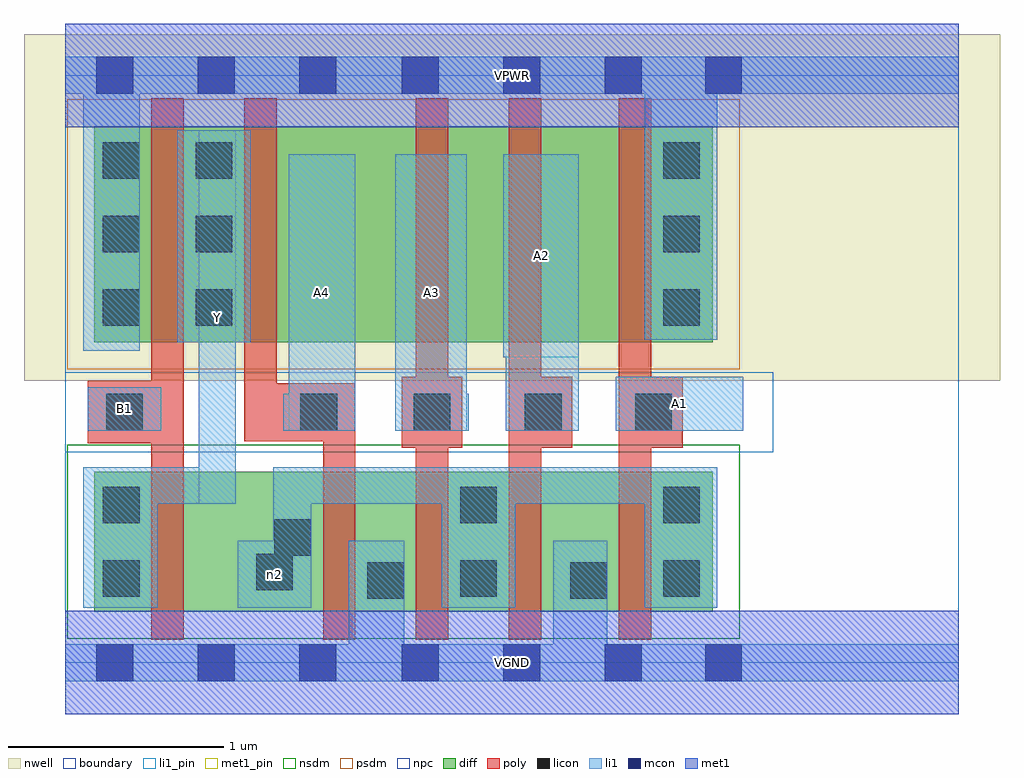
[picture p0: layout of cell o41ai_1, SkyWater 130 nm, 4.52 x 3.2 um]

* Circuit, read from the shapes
.subckt o41ai_1 A1 A2 A3 A4 B1 VGND VPWR Y n2
XM1 n2 B1 Y VSUBS sky130_fd_pr__nfet_01v8 w=0.65 l=0.15
XM2 VGND A4 n2 VSUBS sky130_fd_pr__nfet_01v8 w=0.65 l=0.15
XM3 n2 A3 VGND VSUBS sky130_fd_pr__nfet_01v8 w=0.65 l=0.15
XM4 VGND A2 n2 VSUBS sky130_fd_pr__nfet_01v8 w=0.65 l=0.15
XM5 n2 A1 VGND VSUBS sky130_fd_pr__nfet_01v8 w=0.65 l=0.15
XM6 Y B1 VPWR n1 sky130_fd_pr__pfet_01v8 w=1 l=0.15
XM7 n3 A4 Y n1 sky130_fd_pr__pfet_01v8 w=1 l=0.15
XM8 n4 A3 n3 n1 sky130_fd_pr__pfet_01v8 w=1 l=0.15
XM9 n5 A2 n4 n1 sky130_fd_pr__pfet_01v8 w=1 l=0.15
XM10 VPWR A1 n5 n1 sky130_fd_pr__pfet_01v8 w=1 l=0.15
.ends

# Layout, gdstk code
import gdstk
lib = gdstk.Library(unit=1e-6, precision=1e-09)
def R(c, l, rs):  # rectangles x0, y0, x1, y1
    for r in rs: c.add(gdstk.rectangle(r[:2], r[2:], *l))
def A(c, l, x, y, w, h, nx, ny, dx, dy):  # array of equal rectangles
    R(c, l, [(x+i*dx, y+j*dy, x+i*dx+w, y+j*dy+h) for i in range(nx) for j in range(ny)])
nwell = (64, 20)
diff = (65, 20)
poly = (66, 20)
licon = (66, 44)
li1_pin = (67, 16)
li1 = (67, 20)
mcon = (67, 44)
met1_pin = (68, 16)
met1 = (68, 20)
nsdm = (93, 44)
psdm = (94, 20)
npc = (95, 20)
boundary = (235, 4)

o41ai_1 = lib.new_cell('o41ai_1')
R(o41ai_1, nwell, [(-0.19,1.305,4.33,2.91), (0,1.305,4.14,2.91)])
R(o41ai_1, diff, [(0.135,0.235,3,0.885), (0.135,1.485,3,2.485)])
R(o41ai_1, poly, [(0.4,0.105,0.55,2.615), (1.195,0.105,1.345,1.295), (1.625,0.105,1.775,2.615), (2.055,0.105,2.205,2.615), (2.565,0.105,2.715,2.615), (1.56,0.995,1.84,1.325), (2.055,0.995,2.35,1.325), (2.565,0.995,2.86,1.325), (0.105,1.015,0.55,1.305), (0.83,1.025,0.98,2.615), (0.83,1.025,1.345,1.295)])
A(o41ai_1, licon, 0.175, 1.56, 0.17, 0.17, 1, 3, 0, 0.34)
A(o41ai_1, licon, 0.605, 1.56, 0.17, 0.17, 1, 3, 0, 0.34)
A(o41ai_1, licon, 2.77, 1.56, 0.17, 0.17, 1, 3, 0, 0.34)
R(o41ai_1, licon, [(1.4,0.295,1.57,0.465), (2.34,0.295,2.51,0.465), (0.175,0.305,0.345,0.475), (1.83,0.305,2,0.475), (2.77,0.305,2.94,0.475), (0.885,0.335,1.055,0.505), (0.97,0.495,1.14,0.665), (0.175,0.645,0.345,0.815), (1.83,0.645,2,0.815), (2.77,0.645,2.94,0.815), (0.19,1.075,0.36,1.245), (1.09,1.075,1.26,1.245), (1.615,1.075,1.785,1.245), (2.13,1.075,2.3,1.245), (2.64,1.075,2.81,1.245)])
R(o41ai_1, li1_pin, [(0.62,0.735,0.79,2.465), (0.105,1.075,0.445,1.275), (1.035,1.075,1.345,2.355), (1.53,1.075,1.86,2.355), (2.55,1.075,3.14,1.325), (2.03,1.415,2.38,2.355)])
R(o41ai_1, li1, [(0,-0.085,4.14,0.085), (1.315,-0.085,1.57,0.565), (2.26,-0.085,2.51,0.565), (0.085,0.255,0.43,0.905), (0.8,0.255,1.14,0.565), (0.965,0.255,1.14,0.905), (1.745,0.255,2.085,0.905), (2.685,0.255,3.02,0.905), (0.085,0.735,0.79,0.905), (0.62,0.735,0.79,2.465), (0.965,0.735,3.02,0.905), (0.105,1.075,0.445,1.275), (1.01,1.075,1.345,1.245), (1.035,1.075,1.345,2.355), (1.53,1.075,1.86,2.355), (1.53,1.075,1.87,1.245), (2.04,1.075,2.38,2.355), (2.55,1.075,3.14,1.325), (2.03,1.415,2.38,2.355), (0.085,1.445,0.345,2.805), (0.52,1.485,0.86,2.465), (2.685,1.495,3.02,2.805), (0,2.635,4.14,2.805)])
A(o41ai_1, mcon, 0.145, -0.085, 0.17, 0.17, 3, 2, 0.47, 2.72)
A(o41ai_1, mcon, 1.56, -0.085, 0.17, 0.17, 3, 2, 0.47, 2.72)
R(o41ai_1, mcon, [(2.965,-0.085,3.135,0.085), (2.965,2.635,3.135,2.805)])
R(o41ai_1, met1_pin, [(0,-0.24,4.14,0.24), (0,2.48,4.14,2.96)])
R(o41ai_1, met1, [(0,-0.24,4.14,0.24), (0,2.48,4.14,2.96)])
R(o41ai_1, nsdm, [(0.01,0.11,3.125,1.01)])
R(o41ai_1, psdm, [(0.01,1.36,3.125,2.61)])
R(o41ai_1, npc, [(0,0.975,3.28,1.345)])
R(o41ai_1, boundary, [(0,0,4.14,2.72)])
o41ai_1.add(gdstk.Label('A1', (2.845,1.2), layer=67, texttype=5))
o41ai_1.add(gdstk.Label('A2', (2.205,1.885), layer=67, texttype=5))
o41ai_1.add(gdstk.Label('A3', (1.695,1.715), layer=67, texttype=5))
o41ai_1.add(gdstk.Label('A4', (1.19,1.715), layer=67, texttype=5))
o41ai_1.add(gdstk.Label('B1', (0.275,1.175), layer=67, texttype=5))
o41ai_1.add(gdstk.Label('Y', (0.705,1.6), layer=67, texttype=5))
o41ai_1.add(gdstk.Label('n2', (0.97,0.41), layer=67, texttype=5))
o41ai_1.add(gdstk.Label('VPWR', (2.07,2.72), layer=68, texttype=5))
o41ai_1.add(gdstk.Label('VGND', (2.07,0), layer=68, texttype=5))
o41ai_1.add(gdstk.Label('A1', (2.845,1.2), layer=67, texttype=16))
o41ai_1.add(gdstk.Label('A2', (2.205,1.885), layer=67, texttype=16))
o41ai_1.add(gdstk.Label('A3', (1.695,1.715), layer=67, texttype=16))
o41ai_1.add(gdstk.Label('A4', (1.19,1.715), layer=67, texttype=16))
o41ai_1.add(gdstk.Label('B1', (0.275,1.175), layer=67, texttype=16))
o41ai_1.add(gdstk.Label('Y', (0.705,1.6), layer=67, texttype=16))
o41ai_1.add(gdstk.Label('VPWR', (2.07,2.72), layer=68, texttype=16))
o41ai_1.add(gdstk.Label('VGND', (2.07,0), layer=68, texttype=16))

lib.write_gds('o41ai_1.gds')
